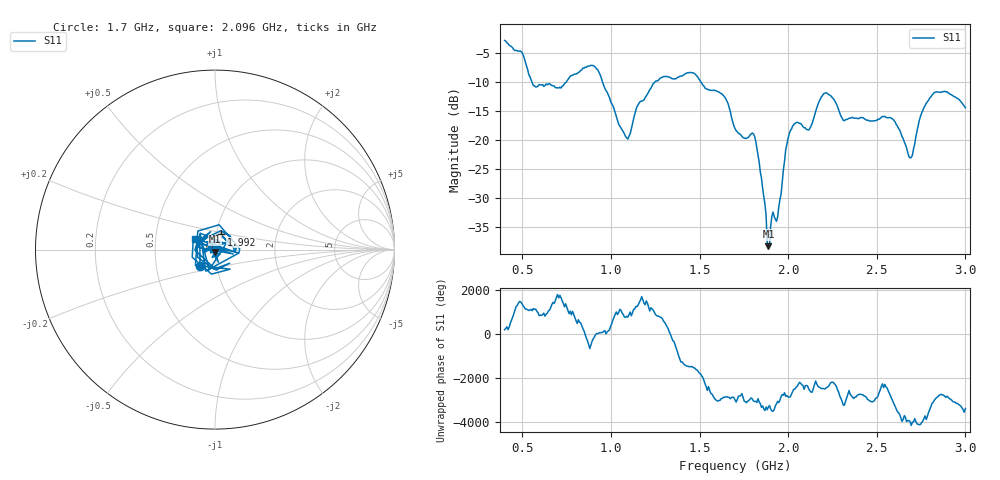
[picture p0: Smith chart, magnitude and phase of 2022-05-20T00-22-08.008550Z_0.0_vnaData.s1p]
!Created with skrf (http://scikit-rf.org).
# Hz S RI R 50.0
!freq ReS11 ImS11
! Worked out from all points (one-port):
!   401 points, 400 MHz to 3 GHz, reference 50 ohm
!   lowest |S11| = -38.4 dB at 1.889 GHz (marker M1), VSWR 1.02, Z = 50 - j1.21 ohm
!   |S11| at or under -10 dB: 553.3 MHz to 749.2 MHz (195.9 MHz wide, 30.1 % of centre); 951.8 MHz to 1.25 GHz (298 MHz wide, 27.1 % of centre); 1.506 GHz to end of sweep
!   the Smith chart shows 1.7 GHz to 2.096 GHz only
!   S11 on the Smith chart (normalised r, x): 1.7 GHz: 0.83, -0.16; 1.992 GHz: 1.05, +0.18; 2.096 GHz: 0.80, +0.10
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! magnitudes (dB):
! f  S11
! 400 MHz  -2.9
! 497.5 MHz  -4.9
! 569 MHz  -10.7
! 725 MHz  -10.8
! 907 MHz  -7.4
! 1.05 GHz  -17.6
! 1.095 GHz  -19.9
! 1.154 GHz  -13.9
! 1.245 GHz  -10.2
! 1.375 GHz  -9.3
! 1.46 GHz  -8.5
! 1.629 GHz  -12.2
! 1.7 GHz  -18.1
! 1.81 GHz  -19.4
! 1.889 GHz  -38.4
! 1.947 GHz  -31.6
! 1.992 GHz  -20.8
! 2.025 GHz  -17.7
! 2.096 GHz  -18.0
! 2.207 GHz  -12.0
! 2.311 GHz  -16.7
! 2.35 GHz  -16.3
! 2.584 GHz  -16.4
! 2.675 GHz  -22.3
! 2.701 GHz  -22.7
! 2.753 GHz  -15.4
! 2.825 GHz  -11.9
! 3 GHz  -14.5
